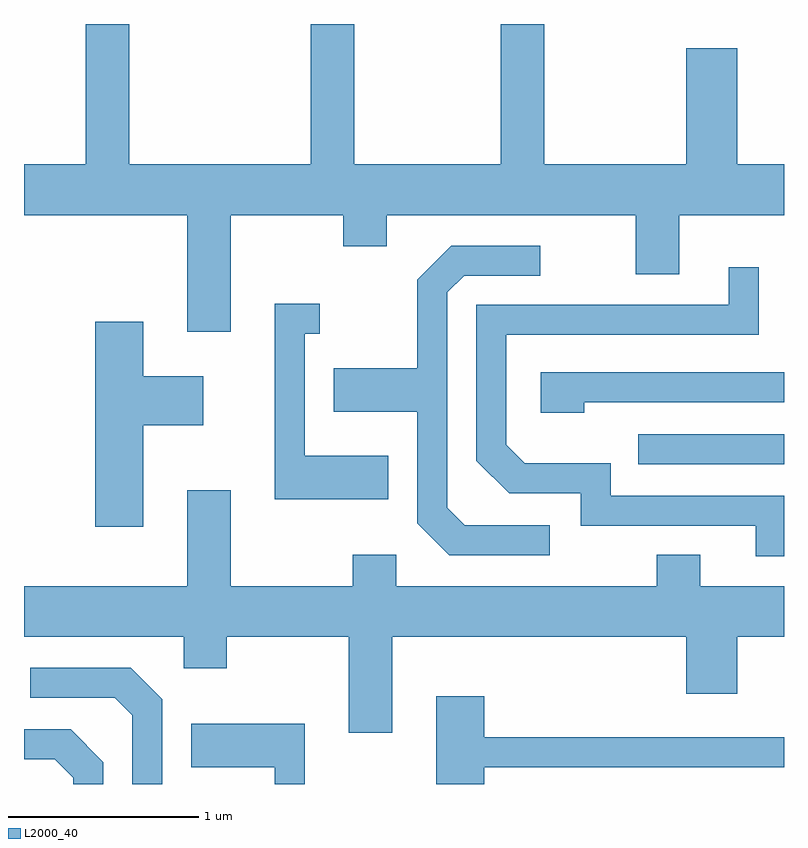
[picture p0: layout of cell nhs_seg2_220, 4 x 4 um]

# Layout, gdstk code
import gdstk
lib = gdstk.Library(unit=1e-6, precision=1e-09)
def R(c, l, rs):  # rectangles x0, y0, x1, y1
    for r in rs: c.add(gdstk.rectangle(r[:2], r[2:], *l))
def P(c, l, *ps):  # polygons
    for p in ps: c.add(gdstk.Polygon(p, *l))
L2000_40 = (2000, 40)

nhs_seg2_220 = lib.new_cell('nhs_seg2_220')
R(nhs_seg2_220, L2000_40, [(194.843,1011.486,195.611,1011.644)])
P(nhs_seg2_220, L2000_40, [(192.699,1012.796),(193.291,1012.796),(193.291,1012.631),(193.519,1012.631),(193.519,1012.796),(194.831,1012.796),(194.831,1012.486),(195.059,1012.486),(195.059,1012.796),(195.611,1012.796),(195.611,1013.064),(195.364,1013.064),(195.364,1013.674),(195.096,1013.674),(195.096,1013.064),(194.349,1013.064),(194.349,1013.802),(194.121,1013.802),(194.121,1013.064),(193.349,1013.064),(193.349,1013.802),(193.121,1013.802),(193.121,1013.064),(192.164,1013.064),(192.164,1013.802),(191.936,1013.802),(191.936,1013.064),(191.611,1013.064),(191.611,1012.796),(192.471,1012.796),(192.471,1012.181),(192.699,1012.181)],
  [(194.378,1011.164),(193.932,1011.164),(193.839,1011.257),(193.839,1012.389),(193.927,1012.476),(194.328,1012.476),(194.328,1012.634),(193.859,1012.634),(193.681,1012.457),(193.681,1011.989),(193.241,1011.989),(193.241,1011.761),(193.681,1011.761),(193.681,1011.174),(193.849,1011.006),(194.378,1011.006)],
  [(195.611,1011.319),(194.699,1011.319),(194.699,1011.489),(194.247,1011.489),(194.149,1011.587),(194.149,1012.166),(195.479,1012.166),(195.479,1012.523),(195.321,1012.523),(195.321,1012.324),(193.991,1012.324),(193.991,1011.504),(194.164,1011.331),(194.541,1011.331),(194.541,1011.161),(195.461,1011.161),(195.461,1011.001),(195.611,1011.001)],
  [(193.529,1011.529),(193.089,1011.529),(193.089,1012.171),(193.168,1012.171),(193.168,1012.329),(192.931,1012.329),(192.931,1011.301),(193.529,1011.301)],
  [(192.239,1011.691),(192.554,1011.691),(192.554,1011.949),(192.239,1011.949),(192.239,1012.234),(191.986,1012.234),(191.986,1011.156),(192.239,1011.156)],
  [(194.559,1011.811),(195.611,1011.811),(195.611,1011.969),(194.331,1011.969),(194.331,1011.756),(194.559,1011.756)],
  [(193.549,1010.576),(195.096,1010.576),(195.096,1010.276),(195.364,1010.276),(195.364,1010.576),(195.611,1010.576),(195.611,1010.844),(195.169,1010.844),(195.169,1011.009),(194.941,1011.009),(194.941,1010.844),(193.569,1010.844),(193.569,1011.009),(193.341,1011.009),(193.341,1010.844),(192.699,1010.844),(192.699,1011.349),(192.471,1011.349),(192.471,1010.844),(191.611,1010.844),(191.611,1010.576),(192.451,1010.576),(192.451,1010.411),(192.679,1010.411),(192.679,1010.576),(193.321,1010.576),(193.321,1010.071),(193.549,1010.071)],
  [(192.339,1010.247),(192.172,1010.414),(191.643,1010.414),(191.643,1010.256),(192.089,1010.256),(192.181,1010.164),(192.181,1009.802),(192.339,1009.802)],
  [(194.034,1009.891),(195.611,1009.891),(195.611,1010.049),(194.034,1010.049),(194.034,1010.264),(193.781,1010.264),(193.781,1009.802),(194.034,1009.802)],
  [(193.089,1010.119),(192.491,1010.119),(192.491,1009.891),(192.931,1009.891),(192.931,1009.802),(193.089,1009.802)],
  [(192.029,1009.917),(191.857,1010.089),(191.611,1010.089),(191.611,1009.931),(191.774,1009.931),(191.871,1009.834),(191.871,1009.802),(192.029,1009.802)])

lib.write_gds('nhs_seg2_220.gds')
